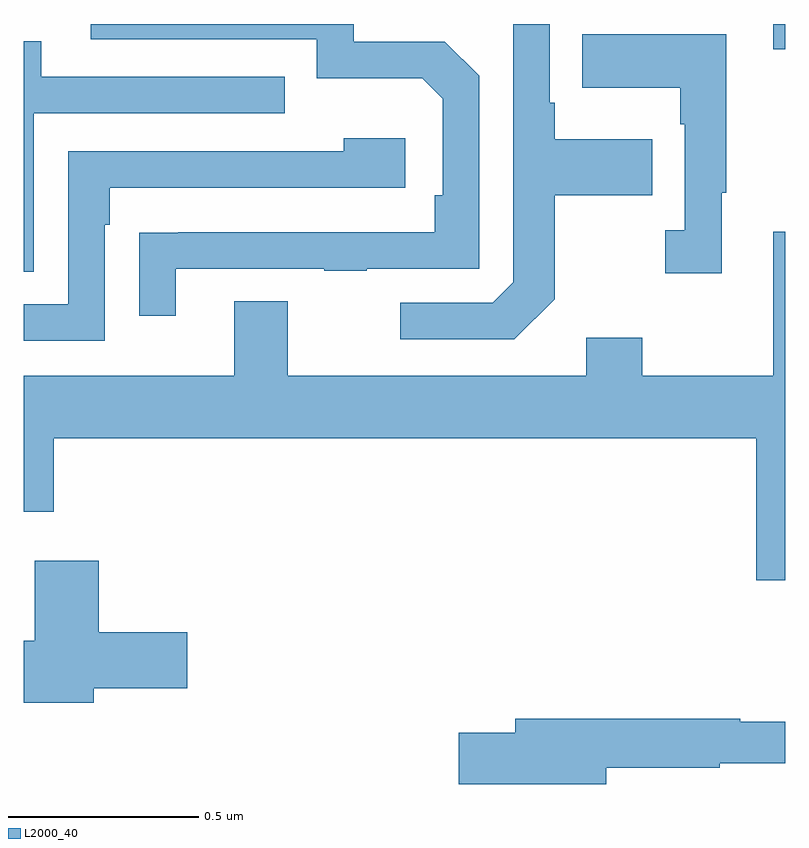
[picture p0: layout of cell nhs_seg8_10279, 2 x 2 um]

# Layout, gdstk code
import gdstk
lib = gdstk.Library(unit=1e-6, precision=1e-09)
def R(c, l, rs):  # rectangles x0, y0, x1, y1
    for r in rs: c.add(gdstk.rectangle(r[:2], r[2:], *l))
def P(c, l, *ps):  # polygons
    for p in ps: c.add(gdstk.Polygon(p, *l))
L2000_40 = (2000, 40)

nhs_seg8_10279 = lib.new_cell('nhs_seg8_10279')
R(nhs_seg8_10279, L2000_40, [(248.969,1138.833,249,1138.9)])
P(nhs_seg8_10279, L2000_40, [(247.399,1138.257),(247.789,1138.257),(247.789,1138.252),(247.901,1138.252),(247.901,1138.257),(248.196,1138.257),(248.196,1138.764),(248.106,1138.854),(247.866,1138.854),(247.866,1138.9),(247.175,1138.9),(247.175,1138.86),(247.77,1138.86),(247.77,1138.757),(248.047,1138.757),(248.1,1138.704),(248.1,1138.45),(248.08,1138.45),(248.08,1138.353),(247.405,1138.353),(247.405,1138.352),(247.303,1138.352),(247.303,1138.134),(247.399,1138.134)],
  [(248.395,1138.177),(248.395,1138.45),(248.651,1138.45),(248.651,1138.597),(248.395,1138.597),(248.395,1138.693),(248.382,1138.693),(248.382,1138.9),(248.286,1138.9),(248.286,1138.221),(248.232,1138.167),(247.989,1138.167),(247.989,1138.071),(248.289,1138.071)],
  [(248.833,1138.457),(248.845,1138.457),(248.845,1138.873),(248.467,1138.873),(248.467,1138.733),(248.724,1138.733),(248.724,1138.637),(248.736,1138.637),(248.736,1138.358),(248.685,1138.358),(248.685,1138.245),(248.833,1138.245)],
  [(247.026,1138.665),(247.685,1138.665),(247.685,1138.761),(247.045,1138.761),(247.045,1138.855),(247,1138.855),(247,1138.249),(247.026,1138.249)],
  [(247.212,1138.373),(247.225,1138.373),(247.225,1138.47),(248.002,1138.47),(248.002,1138.6),(247.841,1138.6),(247.841,1138.566),(247.116,1138.566),(247.116,1138.164),(247,1138.164),(247,1138.068),(247.212,1138.068)],
  [(249,1138.354),(248.969,1138.354),(248.969,1137.976),(248.625,1137.976),(248.625,1138.075),(248.477,1138.075),(248.477,1137.976),(247.693,1137.976),(247.693,1138.171),(247.553,1138.171),(247.553,1137.976),(247,1137.976),(247,1137.618),(247.079,1137.618),(247.079,1137.812),(248.924,1137.812),(248.924,1137.438),(249,1137.438)],
  [(247.183,1137.155),(247.429,1137.155),(247.429,1137.302),(247.196,1137.302),(247.196,1137.49),(247.028,1137.49),(247.028,1137.279),(247,1137.279),(247,1137.116),(247.183,1137.116)],
  [(248.53,1136.946),(248.828,1136.946),(248.828,1136.958),(249,1136.958),(249,1137.067),(248.882,1137.067),(248.882,1137.074),(248.291,1137.074),(248.291,1137.038),(248.142,1137.038),(248.142,1136.903),(248.53,1136.903)])

lib.write_gds('nhs_seg8_10279.gds')
